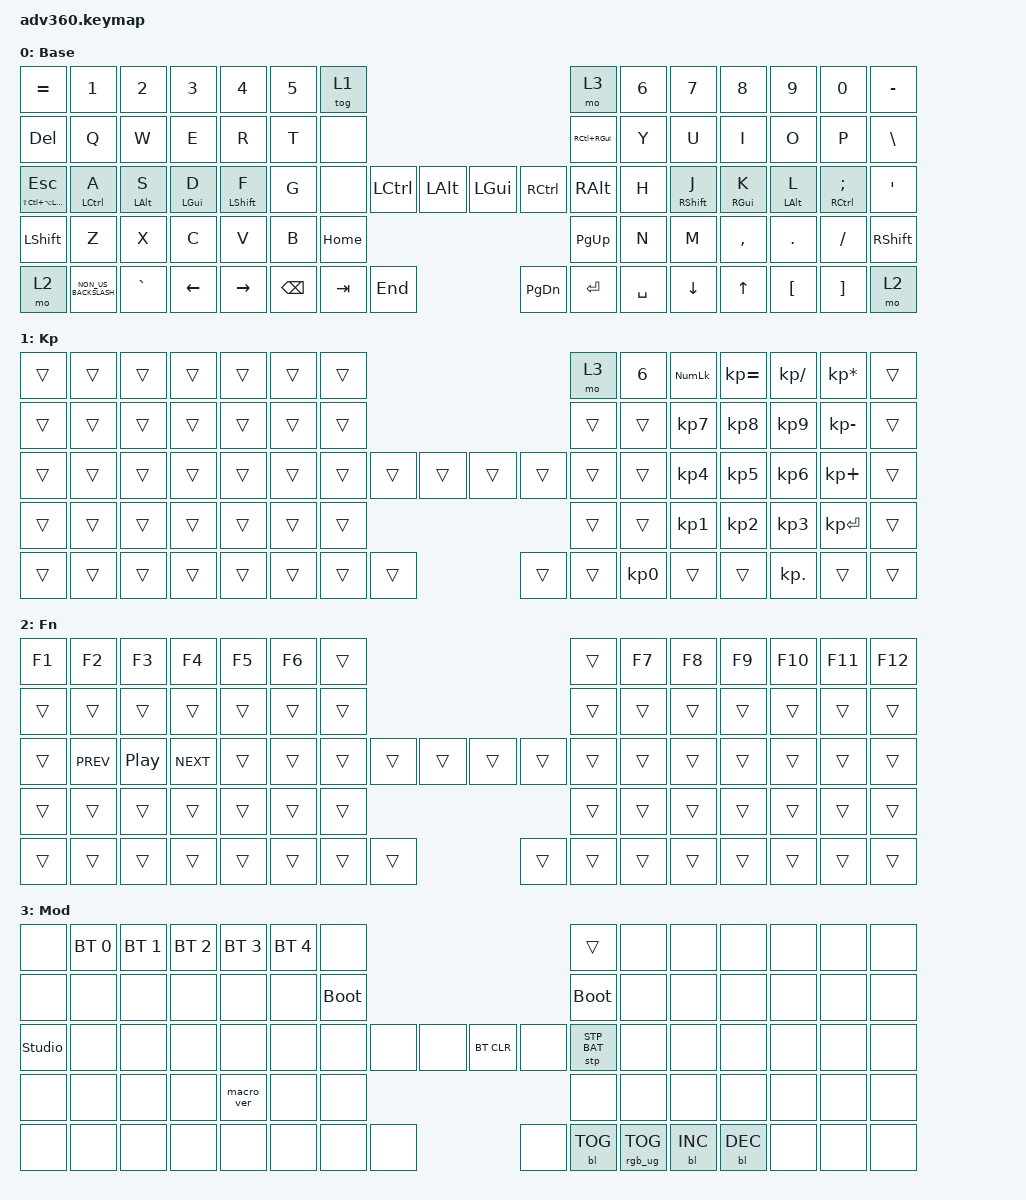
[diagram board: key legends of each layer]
#include <behaviors.dtsi>
#include <dt-bindings/zmk/keys.h>
#include <dt-bindings/zmk/bt.h>
#include <dt-bindings/zmk/rgb.h>
#include <dt-bindings/zmk/stp.h>
#include <dt-bindings/zmk/backlight.h>
#include <dt-bindings/zmk/pointing.h>


#define TICK      NON_US_BACKSLASH
#define KP_DIV    KP_DIVIDE
#define KP_MULT   KP_MULTIPLY
#define BATT_LVL  &rgb_ug RGB_MEFS_CMD 5

#define HYP(key) LS(LC(LA(LG(key))))
#define HYPR    LS(LC(LA(LGUI)))

#define KEYS_LEFT  0 1 2 3 4 5 6 14 15 16 17 18 19 20 28 29 30 31 32 33 34 46 47 48 49 50 51 60 61 62 63 64
#define KEYS_RIGHT 7 8 9 10 11 12 13 21 22 23 24 25 26 27 39 40 41 42 43 44 45 54 55 56 57 58 59 71 72 73 74 75
#define KEYS_THUMB 35 36 37 38 52 53 65 66 67 68 69 70

/ {
    combos {
      compatible = "zmk,combos";
      combo_caps {
        timeout-ms = <50>;
        key-positions = <46 59>; // LSHFT & RSHFT
        bindings = <&prog_caps>;
      };
    };

    behaviors {
      #include "macros.dtsi"
      #include "version.dtsi"

      hm: homerow_mods {
          compatible = "zmk,behavior-hold-tap";
          label = "HOMEROW_MODS";
          #binding-cells = <2>;
          tapping-term-ms = <200>;
          quick_tap_ms = <175>;
          flavor = "tap-preferred";
          bindings = <&kp>, <&kp>;
      };

      hml: homerow_left_mods {
          compatible = "zmk,behavior-hold-tap";
          label = "HM_LEFT";
          flavor = "balanced";
          tapping-term-ms = <280>;
          quick-tap-ms = <175>;                // repeat on tap-into-hold
          // global-quick-tap-ms = <150>;      // requires PR #1387
          global-quick-tap;
          #binding-cells = <2>;
          bindings = <&kp>, <&kp>;
          hold-trigger-key-positions = <KEYS_RIGHT KEYS_THUMB>;
          hold-trigger-on-release;             // delay positional check until key-release
      };

      hmr: homerow_right_mods {
          compatible = "zmk,behavior-hold-tap";
          label = "HM_RIGHT";
          flavor = "balanced";
          tapping-term-ms = <280>;
          quick-tap-ms = <175>;                // repeat on tap-into-hold
          // global-quick-tap-ms = <150>;      // requires PR #1387
          global-quick-tap;
          #binding-cells = <2>;
          bindings = <&kp>, <&kp>;
          hold-trigger-key-positions = <KEYS_LEFT KEYS_THUMB>;
          hold-trigger-on-release;             // delay positional check until key-release
      };

      prog_caps: behavior_prog_caps_word {
          compatible = "zmk,behavior-caps-word";
          label = "PROG_CAPS";
          #binding-cells = <0>;
          continue-list = <MINUS UNDERSCORE LSHFT RSHFT>;
      };

      hy: hyper_tap {
          compatible = "zmk,behavior-hold-tap";
          label = "HYPER_TAP";
          #binding-cells = <2>;
          flavor = "hold-preferred";
          tapping-term-ms = <200>;                        // <---[[produces tap if held longer than tapping-term-ms]]
          #quick-tap-ms = <200>;
          bindings = <&kp>, <&kp>;
      };
    };

  keymap {
    compatible = "zmk,keymap";

    default_layer {
      display-name = "Base";
      bindings = <
// 0  ╭─────────────┬─────────────┬─────────────┬─────────────┬─────────────┬─────────────┬─────────────╮                                                                                                   ╭─────────────┬─────────────┬─────────────┬─────────────┬─────────────┬─────────────┬─────────────╮
        &kp EQUAL     &kp N1        &kp N2        &kp N3        &kp N4        &kp N5        &tog 1                                                                                                            &mo 3         &kp N6        &kp N7        &kp N8        &kp N9        &kp N0        &kp MINUS
// 14 ├─────────────┼─────────────┼─────────────┼─────────────┼─────────────┼─────────────┼─────────────┤                                                                                                   ├─────────────┼─────────────┼─────────────┼─────────────┼─────────────┼─────────────┼─────────────┤
        &kp DEL       &kp Q         &kp W         &kp E         &kp R         &kp T         &none                                                                                                             &kp RC(RGUI)  &kp Y         &kp U         &kp I         &kp O         &kp P         &kp BSLH
// 28 ├─────────────┼─────────────┼─────────────┼─────────────┼─────────────┼─────────────┼─────────────┤                   ╭─────────────┬─────────────╮    ╭─────────────┬─────────────╮                  ├─────────────┼─────────────┼─────────────┼─────────────┼─────────────┼─────────────┼─────────────┤
        &hy HYPR ESC  &hml LCTRL A  &hml LALT S   &hml LGUI D   &hml LSHFT F  &kp G         &none                             &kp LCTRL     &kp LALT           &kp LGUI      &kp RCTRL                        &kp RALT      &kp H         &hmr RSHFT J  &hmr RGUI K  &hmr LALT L   &hmr RCTL SEMI &kp SQT
// 46 ├─────────────┼─────────────┼─────────────┼─────────────┼─────────────┼─────────────┼─────────────╯     ╭─────────────┼─────────────┼─────────────┤    ├─────────────┼─────────────┼─────────────╮    ╰─────────────┼─────────────┼─────────────┼─────────────┼─────────────┼─────────────┼─────────────┤
        &kp LSHFT     &kp Z         &kp X         &kp C         &kp V         &kp B                                                         &kp HOME           &kp PG_UP                                                    &kp N         &kp M         &kp COMMA     &kp DOT       &kp FSLH      &kp RSHFT
// 60 ├─────────────┼─────────────┼─────────────┼─────────────┼─────────────┼─────────────╯                   │             │             ├─────────────┤    ├─────────────┤             │             │                  ╰─────────────┼─────────────┼─────────────┼─────────────┼─────────────┼─────────────┤
        &mo 2         &kp TICK      &kp GRAVE     &kp LEFT      &kp RIGHT                                       &kp BSPC      &kp TAB       &kp END            &kp PG_DN      &kp ENTER    &kp SPACE                                      &kp DOWN      &kp UP        &kp LBKT      &kp RBKT      &mo 2
//    ╰─────────────┴─────────────┴─────────────┴─────────────┴─────────────╯                                 ╰─────────────┴─────────────┴─────────────╯    ╰─────────────┴─────────────┴─────────────╯                                ╰─────────────┴─────────────┴─────────────┴─────────────┴─────────────╯
      >;
    };
    keypad {
      display-name = "Kp";
      bindings = <
//    ╭─────────────┬─────────────┬─────────────┬─────────────┬─────────────┬─────────────┬─────────────╮                                                                                                   ╭─────────────┬─────────────┬─────────────┬─────────────┬─────────────┬─────────────┬─────────────╮
        &trans        &trans        &trans        &trans        &trans        &trans        &trans                                                                                                            &mo 3         &kp N6        &kp KP_NUM    &kp KP_EQUAL  &kp KP_DIVIDE &kp KP_MULTIPLY &trans     
//    ├─────────────┼─────────────┼─────────────┼─────────────┼─────────────┼─────────────┼─────────────┤                                                                                                   ├─────────────┼─────────────┼─────────────┼─────────────┼─────────────┼─────────────┼─────────────┤
        &trans        &trans        &trans        &trans        &trans        &trans        &trans                                                                                                            &trans        &trans        &kp KP_N7     &kp KP_N8     &kp KP_N9     &kp KP_MINUS  &trans     
//    ├─────────────┼─────────────┼─────────────┼─────────────┼─────────────┼─────────────┼─────────────┤                   ╭─────────────┬─────────────╮    ╭─────────────┬─────────────╮                  ├─────────────┼─────────────┼─────────────┼─────────────┼─────────────┼─────────────┼─────────────┤
        &trans        &trans        &trans        &trans        &trans        &trans        &trans                            &trans        &trans             &trans        &trans                           &trans        &trans        &kp KP_N4     &kp KP_N5     &kp KP_N6     &kp KP_PLUS   &trans     
//    ├─────────────┼─────────────┼─────────────┼─────────────┼─────────────┼─────────────┼─────────────╯     ╭─────────────┼─────────────┼─────────────┤    ├─────────────┼─────────────┼─────────────╮    ╰─────────────┼─────────────┼─────────────┼─────────────┼─────────────┼─────────────┼─────────────┤
        &trans        &trans        &trans        &trans        &trans        &trans                                                        &trans             &trans                                                       &trans        &kp KP_N1     &kp KP_N2     &kp KP_N3     &kp KP_ENTER  &trans     
//    ├─────────────┼─────────────┼─────────────┼─────────────┼─────────────┼─────────────╯                   │             │             ├─────────────┤    ├─────────────┤             │             │                  ╰─────────────┼─────────────┼─────────────┼─────────────┼─────────────┼─────────────┤
        &trans        &trans        &trans        &trans        &trans                                          &trans        &trans        &trans             &trans        &trans        &kp KP_N0                                      &trans        &trans        &kp KP_DOT    &trans        &trans     
//    ╰─────────────┴─────────────┴─────────────┴─────────────┴─────────────╯                                 ╰─────────────┴─────────────┴─────────────╯    ╰─────────────┴─────────────┴─────────────╯                                ╰─────────────┴─────────────┴─────────────┴─────────────┴─────────────╯
      >;
    };
    fn {
      display-name = "Fn";
      bindings = <
//    ╭─────────────┬─────────────┬─────────────┬─────────────┬─────────────┬─────────────┬─────────────╮                                                                                                   ╭─────────────┬─────────────┬─────────────┬─────────────┬─────────────┬─────────────┬─────────────╮
        &kp F1        &kp F2        &kp F3         &kp F4       &kp F5        &kp F6        &trans                                                                                                            &trans        &kp F7        &kp F8        &kp F9        &kp F10       &kp F11       &kp F12
//    ├─────────────┼─────────────┼─────────────┼─────────────┼─────────────┼─────────────┼─────────────┤                                                                                                   ├─────────────┼─────────────┼─────────────┼─────────────┼─────────────┼─────────────┼─────────────┤
        &trans        &trans        &trans         &trans       &trans        &trans        &trans                                                                                                            &trans        &trans        &trans        &trans        &trans        &trans        &trans
//    ├─────────────┼─────────────┼─────────────┼─────────────┼─────────────┼─────────────┼─────────────┤                   ╭─────────────┬─────────────╮    ╭─────────────┬─────────────╮                  ├─────────────┼─────────────┼─────────────┼─────────────┼─────────────┼─────────────┼─────────────┤
        &trans        &kp C_PREV    &kp C_PP       &kp C_NEXT   &trans        &trans        &trans                            &trans        &trans             &trans        &trans                           &trans        &trans        &trans        &trans        &trans        &trans        &trans
//    ├─────────────┼─────────────┼─────────────┼─────────────┼─────────────┼─────────────┼─────────────╯     ╭─────────────┼─────────────┼─────────────┤    ├─────────────┼─────────────┼─────────────╮    ╰─────────────┼─────────────┼─────────────┼─────────────┼─────────────┼─────────────┼─────────────┤
        &trans        &trans        &trans         &trans       &trans        &trans                                                        &trans             &trans                                                       &trans        &trans        &trans        &trans        &trans        &trans
//    ├─────────────┼─────────────┼─────────────┼─────────────┼─────────────┼─────────────╯                   │             │             ├─────────────┤    ├─────────────┤             │             │                  ╰─────────────┼─────────────┼─────────────┼─────────────┼─────────────┼─────────────┤
        &trans        &trans        &trans         &trans       &trans                                          &trans        &trans        &trans             &trans        &trans        &trans                                         &trans        &trans        &trans        &trans        &trans
//    ╰─────────────┴─────────────┴─────────────┴─────────────┴─────────────╯                                 ╰─────────────┴─────────────┴─────────────╯    ╰─────────────┴─────────────┴─────────────╯                                ╰─────────────┴─────────────┴─────────────┴─────────────┴─────────────╯
      >;
    };
    mod {
      display-name = "Mod";
      bindings = <
//    ╭─────────────┬─────────────┬─────────────┬─────────────┬─────────────┬─────────────┬─────────────╮                                                                                                   ╭─────────────┬─────────────┬─────────────┬─────────────┬─────────────┬─────────────┬─────────────╮
        &none         &bt BT_SEL 0  &bt BT_SEL 1  &bt BT_SEL 2  &bt BT_SEL 3  &bt BT_SEL 4  &none                                                                                                             &trans        &none         &none         &none         &none         &none         &none
//    ├─────────────┼─────────────┼─────────────┼─────────────┼─────────────┼─────────────┼─────────────┤                                                                                                   ├─────────────┼─────────────┼─────────────┼─────────────┼─────────────┼─────────────┼─────────────┤
        &none         &none         &none         &none         &none         &none         &bootloader                                                                                                       &bootloader   &none         &none         &none         &none         &none         &none
//    ├─────────────┼─────────────┼─────────────┼─────────────┼─────────────┼─────────────┼─────────────┤                   ╭─────────────┬─────────────╮    ╭─────────────┬─────────────╮                  ├─────────────┼─────────────┼─────────────┼─────────────┼─────────────┼─────────────┼─────────────┤
        &studio_unlock &none        &none         &none         &none         &none         &none                             &none         &none              &bt BT_CLR    &none                            &stp STP_BAT  &none         &none         &none         &none         &none         &none
//    ├─────────────┼─────────────┼─────────────┼─────────────┼─────────────┼─────────────┼─────────────╯     ╭─────────────┼─────────────┼─────────────┤    ├─────────────┼─────────────┼─────────────╮    ╰─────────────┼─────────────┼─────────────┼─────────────┼─────────────┼─────────────┼─────────────┤
        &none         &none         &none         &none         &macro_ver    &none                                                         &none              &none                                                        &none         &none         &none         &none         &none         &none
//    ├─────────────┼─────────────┼─────────────┼─────────────┼─────────────┼─────────────╯                   │             │             ├─────────────┤    ├─────────────┤             │             │                  ╰─────────────┼─────────────┼─────────────┼─────────────┼─────────────┼─────────────┤
        &none         &none         &none         &none         &none                                           &none         &none         &none              &none         &bl BL_TOG    &rgb_ug RGB_TOG                                &bl BL_INC    &bl BL_DEC    &none         &none         &none
//    ╰─────────────┴─────────────┴─────────────┴─────────────┴─────────────╯                                 ╰─────────────┴─────────────┴─────────────╯    ╰─────────────┴─────────────┴─────────────╯                                ╰─────────────┴─────────────┴─────────────┴─────────────┴─────────────╯
      >;
    };
    extra1 { 
      display-name = "Red";    
      status = "reserved";
    };

    extra2 { 
      display-name = "Purple";    
      status = "reserved";
    };

    extra3 { 
      display-name = "Cyan";    
      status = "reserved";
    };

    extra4 { 
      display-name = "Yellow";    
      status = "reserved";
    };
  };
};
